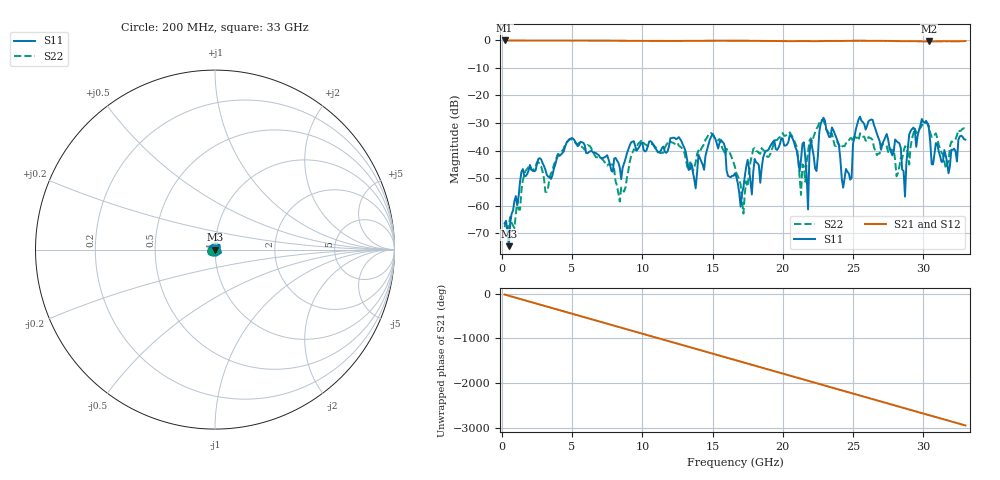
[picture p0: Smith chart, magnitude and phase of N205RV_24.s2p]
# GHZ S RI R 50
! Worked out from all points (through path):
!   329 points, 200 MHz to 33 GHz, reference 50 ohm
!   highest |S21| = -0.02 dB at 200 MHz (marker M1); lowest = -0.4 dB at 30.4 GHz (marker M2)
!   group delay of S21, straight-line fit = 248 ps
!   lowest |S11| = -74.7 dB at 500 MHz (marker M3), VSWR 1.00, Z = 50 + j0.00447 ohm
!   |S11| at or under -10 dB: start of sweep to end of sweep
!   |S22| runs from -68.7 to -28.8 dB; largest |S21 - S12| = 0.0019
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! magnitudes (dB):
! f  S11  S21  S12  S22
! 200 MHz  -66.5  0.0  0.0  -67.8
! 500 MHz  -74.7  0.0  0.0  -67.0
! 1.5 GHz  -46.7  -0.1  -0.1  -50.8
! 5.7 GHz  -37.0  -0.1  -0.1  -38.6
! 8.4 GHz  -46.2  -0.1  -0.1  -58.5
! 11.2 GHz  -40.6  -0.2  -0.2  -40.7
! 16.6 GHz  -48.3  -0.1  -0.1  -46.0
! 17.2 GHz  -53.3  -0.1  -0.1  -62.9
! 17.9 GHz  -47.7  -0.2  -0.2  -39.5
! 20.5 GHz  -34.4  -0.3  -0.3  -33.4
! 21.3 GHz  -43.3  -0.3  -0.3  -56.1
! 21.8 GHz  -61.4  -0.3  -0.3  -40.5
! 22.1 GHz  -39.0  -0.3  -0.3  -36.8
! 23.5 GHz  -31.6  -0.2  -0.2  -33.8
! 24.3 GHz  -53.5  -0.2  -0.2  -38.4
! 25.5 GHz  -27.7  -0.1  -0.1  -33.7
! 27.6 GHz  -39.1  -0.2  -0.2  -39.1
! 28.7 GHz  -56.7  -0.3  -0.3  -38.4
! 29 GHz  -34.1  -0.3  -0.3  -45.1
! 30.4 GHz  -31.9  -0.4  -0.4  -31.0
! 31.6 GHz  -41.8  -0.3  -0.3  -46.6
! 33 GHz  -36.0  -0.2  -0.2  -32.5
